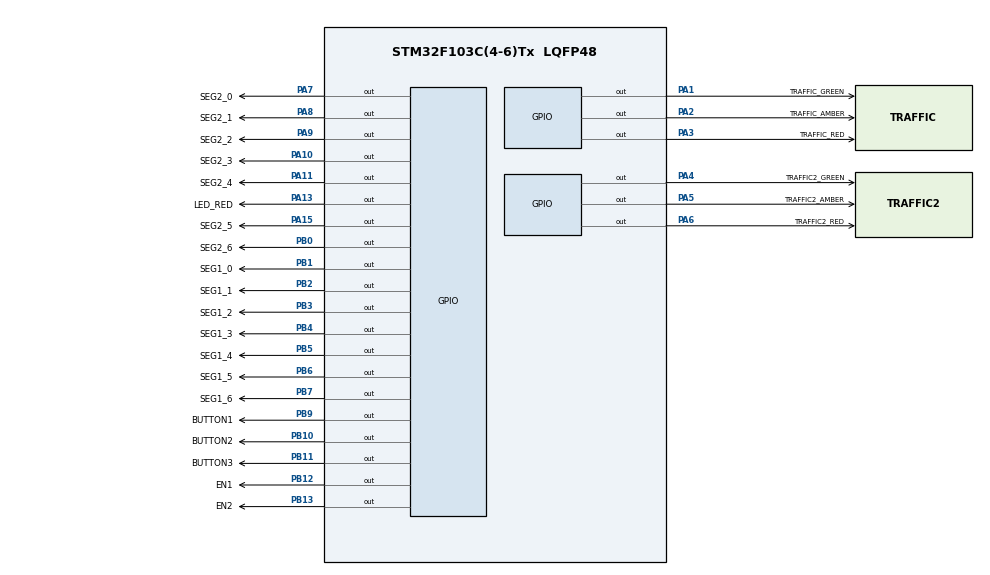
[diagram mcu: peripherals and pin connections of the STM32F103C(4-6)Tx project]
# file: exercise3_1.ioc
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Mcu.Family=STM32F1
Mcu.Name=STM32F103C(4-6)Tx
Mcu.Package=LQFP48
NVIC.PriorityGroup=NVIC_PRIORITYGROUP_4
NVIC.TIM2_IRQn=true\:0\:0\:false\:false\:true\:true\:true\:true
PA1.GPIO_Label=TRAFFIC_GREEN
PA1.Signal=GPIO_Output
PA10.GPIO_Label=SEG2_3
PA10.Signal=GPIO_Output
PA11.GPIO_Label=SEG2_4
PA11.Signal=GPIO_Output
PA13.GPIO_Label=LED_RED
PA13.Signal=GPIO_Output
PA15.GPIO_Label=SEG2_5
PA15.Signal=GPIO_Output
PA2.GPIO_Label=TRAFFIC_AMBER
PA2.Signal=GPIO_Output
PA3.GPIO_Label=TRAFFIC_RED
PA3.Signal=GPIO_Output
PA4.GPIO_Label=TRAFFIC2_GREEN
PA4.Signal=GPIO_Output
PA5.GPIO_Label=TRAFFIC2_AMBER
PA5.Signal=GPIO_Output
PA6.GPIO_Label=TRAFFIC2_RED
PA6.Signal=GPIO_Output
PA7.GPIO_Label=SEG2_0
PA7.Signal=GPIO_Output
PA8.GPIO_Label=SEG2_1
PA8.Signal=GPIO_Output
PA9.GPIO_Label=SEG2_2
PA9.Signal=GPIO_Output
PB0.GPIO_Label=SEG2_6
PB0.Signal=GPIO_Output
PB1.GPIO_Label=SEG1_0
PB1.Signal=GPIO_Output
PB10.GPIO_Label=BUTTON2
PB10.Signal=GPIO_Output
PB11.GPIO_Label=BUTTON3
PB11.GPIO_PuPd=GPIO_PULLUP
PB11.Signal=GPIO_Output
PB12.GPIO_Label=EN1
PB12.GPIO_PuPd=GPIO_PULLUP
PB12.Signal=GPIO_Output
PB13.GPIO_Label=EN2
PB13.GPIO_PuPd=GPIO_PULLUP
PB13.Signal=GPIO_Output
PB2.GPIO_Label=SEG1_1
PB2.Signal=GPIO_Output
PB3.GPIO_Label=SEG1_2
PB3.Signal=GPIO_Output
PB4.GPIO_Label=SEG1_3
PB4.Signal=GPIO_Output
PB5.GPIO_Label=SEG1_4
PB5.Signal=GPIO_Output
PB6.GPIO_Label=SEG1_5
PB6.Signal=GPIO_Output
PB7.GPIO_Label=SEG1_6
PB7.Signal=GPIO_Output
PB9.GPIO_Label=BUTTON1
PB9.Signal=GPIO_Output
ProjectManager.HeapSize=0x200
ProjectManager.StackSize=0x400
ProjectManager.TargetToolchain=STM32CubeIDE
RCC.APB1Freq_Value=8000000
RCC.APB2Freq_Value=8000000
TIM2.Period=9
TIM2.Prescaler=7999
VP_TIM2_VS_ClockSourceINT.Mode=Internal
board=custom

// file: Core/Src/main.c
/* USER CODE BEGIN Header */
/**
 ******************************************************************************
 * @file           : main.c
 * @brief          : Main program body
 ******************************************************************************
 * @attention
 *
 * Copyright (c) 2022 STMicroelectronics.
 * All rights reserved.
 *
 * This software is licensed under terms that can be found in the LICENSE file
 * in the root directory of this software component.
 * If no LICENSE file comes with this software, it is provided AS-IS.
 *
 ******************************************************************************
 */
/* USER CODE END Header */
#include "main.h"

/* USER CODE BEGIN Includes */
#include "software_timer.h"
#include "global.h"
#include "input_processing.h"
#include "input_reading.h"
/* USER CODE END Includes */

TIM_HandleTypeDef htim2;

void SystemClock_Config(void);
static void MX_GPIO_Init(void);
static void MX_TIM2_Init(void);

int main(void) {

	/* MCU Configuration--------------------------------------------------------*/

	/* Reset of all peripherals, Initializes the Flash interface and the Systick. */
	HAL_Init();

	/* Configure the system clock */
	SystemClock_Config();

	/* Initialize all configured peripherals */
	MX_GPIO_Init();
	MX_TIM2_Init();
	/* USER CODE BEGIN 2 */
	HAL_TIM_Base_Start_IT(&htim2);
	/* USER CODE END 2 */

	/* Infinite loop */
	/* USER CODE BEGIN WHILE */
	setTimer1(250);
	setTimer2(101);
	setTimer3(97);

	while (1) {
		if (timer1_flag) {
			fsm_mode_button1();
			fsm_mode_button2();
			fsm_mode_button3();
			if (updateState() == MODE1) {
				setTimer1(250);
				fsm_traffic_led();
			} else {
				setTimer1(100);
				led_blink();
				display7SEG2(status_mode);
				display_set_value();
			}
		}
		/*if(isButtonPressed(2)){
		 HAL_GPIO_TogglePin(LED_RED_GPIO_Port, LED_RED_Pin);
		 }*/
		/* USER CODE END WHILE */
	}
}

void SystemClock_Config(void) {
	RCC_OscInitTypeDef RCC_OscInitStruct = { 0 };
	RCC_ClkInitTypeDef RCC_ClkInitStruct = { 0 };

	/** Initializes the RCC Oscillators according to the specified parameters
	 * in the RCC_OscInitTypeDef structure.
	 */
	RCC_OscInitStruct.OscillatorType = RCC_OSCILLATORTYPE_HSI;
	RCC_OscInitStruct.HSIState = RCC_HSI_ON;
	RCC_OscInitStruct.HSICalibrationValue = RCC_HSICALIBRATION_DEFAULT;
	RCC_OscInitStruct.PLL.PLLState = RCC_PLL_NONE;
	if (HAL_RCC_OscConfig(&RCC_OscInitStruct) != HAL_OK) {
		Error_Handler();
	}

	/** Initializes the CPU, AHB and APB buses clocks
	 */
	RCC_ClkInitStruct.ClockType = RCC_CLOCKTYPE_HCLK | RCC_CLOCKTYPE_SYSCLK
			| RCC_CLOCKTYPE_PCLK1 | RCC_CLOCKTYPE_PCLK2;
	RCC_ClkInitStruct.SYSCLKSource = RCC_SYSCLKSOURCE_HSI;
	RCC_ClkInitStruct.AHBCLKDivider = RCC_SYSCLK_DIV1;
	RCC_ClkInitStruct.APB1CLKDivider = RCC_HCLK_DIV1;
	RCC_ClkInitStruct.APB2CLKDivider = RCC_HCLK_DIV1;

	if (HAL_RCC_ClockConfig(&RCC_ClkInitStruct, FLASH_LATENCY_0) != HAL_OK) {
		Error_Handler();
	}
}

static void MX_TIM2_Init(void) {

	TIM_ClockConfigTypeDef sClockSourceConfig = { 0 };
	TIM_MasterConfigTypeDef sMasterConfig = { 0 };

	htim2.Instance = TIM2;
	htim2.Init.Prescaler = 7999;
	htim2.Init.CounterMode = TIM_COUNTERMODE_UP;
	htim2.Init.Period = 9;
	htim2.Init.ClockDivision = TIM_CLOCKDIVISION_DIV1;
	htim2.Init.AutoReloadPreload = TIM_AUTORELOAD_PRELOAD_DISABLE;
	if (HAL_TIM_Base_Init(&htim2) != HAL_OK) {
		Error_Handler();
	}
	sClockSourceConfig.ClockSource = TIM_CLOCKSOURCE_INTERNAL;
	if (HAL_TIM_ConfigClockSource(&htim2, &sClockSourceConfig) != HAL_OK) {
		Error_Handler();
	}
	sMasterConfig.MasterOutputTrigger = TIM_TRGO_RESET;
	sMasterConfig.MasterSlaveMode = TIM_MASTERSLAVEMODE_DISABLE;
	if (HAL_TIMEx_MasterConfigSynchronization(&htim2, &sMasterConfig)
			!= HAL_OK) {
		Error_Handler();
	}

}

static void MX_GPIO_Init(void) {
	GPIO_InitTypeDef GPIO_InitStruct = { 0 };

	/* GPIO Ports Clock Enable */
	__HAL_RCC_GPIOA_CLK_ENABLE();
	__HAL_RCC_GPIOB_CLK_ENABLE();

	/*Configure GPIO pin Output Level */
	HAL_GPIO_WritePin(GPIOA,
			TRAFFIC_GREEN_Pin | TRAFFIC_AMBER_Pin | TRAFFIC_RED_Pin
					| TRAFFIC2_GREEN_Pin | TRAFFIC2_AMBER_Pin | TRAFFIC2_RED_Pin
					| SEG2_0_Pin | SEG2_1_Pin | SEG2_2_Pin | SEG2_3_Pin
					| SEG2_4_Pin | LED_RED_Pin | SEG2_5_Pin, GPIO_PIN_RESET);

	/*Configure GPIO pin Output Level */
	HAL_GPIO_WritePin(GPIOB,
			SEG2_6_Pin | SEG1_0_Pin | SEG1_1_Pin | BUTTON2_Pin | BUTTON3_Pin
					| EN1_Pin | EN2_Pin | SEG1_2_Pin | SEG1_3_Pin | SEG1_4_Pin
					| SEG1_5_Pin | SEG1_6_Pin | BUTTON1_Pin, GPIO_PIN_RESET);

	/*Configure GPIO pins : TRAFFIC_GREEN_Pin TRAFFIC_AMBER_Pin TRAFFIC_RED_Pin TRAFFIC2_GREEN_Pin
	 TRAFFIC2_AMBER_Pin TRAFFIC2_RED_Pin SEG2_0_Pin SEG2_1_Pin
	 SEG2_2_Pin SEG2_3_Pin SEG2_4_Pin LED_RED_Pin
	 SEG2_5_Pin */
	GPIO_InitStruct.Pin = TRAFFIC_GREEN_Pin | TRAFFIC_AMBER_Pin
			| TRAFFIC_RED_Pin | TRAFFIC2_GREEN_Pin | TRAFFIC2_AMBER_Pin
			| TRAFFIC2_RED_Pin | SEG2_0_Pin | SEG2_1_Pin | SEG2_2_Pin
			| SEG2_3_Pin | SEG2_4_Pin | LED_RED_Pin | SEG2_5_Pin;
	GPIO_InitStruct.Mode = GPIO_MODE_OUTPUT_PP;
	GPIO_InitStruct.Pull = GPIO_NOPULL;
	GPIO_InitStruct.Speed = GPIO_SPEED_FREQ_LOW;
	HAL_GPIO_Init(GPIOA, &GPIO_InitStruct);

	/*Configure GPIO pins : SEG2_6_Pin SEG1_0_Pin SEG1_1_Pin BUTTON2_Pin
	 SEG1_2_Pin SEG1_3_Pin SEG1_4_Pin SEG1_5_Pin
	 SEG1_6_Pin BUTTON1_Pin */
	GPIO_InitStruct.Pin = SEG2_6_Pin | SEG1_0_Pin | SEG1_1_Pin | BUTTON2_Pin
			| SEG1_2_Pin | SEG1_3_Pin | SEG1_4_Pin | SEG1_5_Pin | SEG1_6_Pin
			| BUTTON1_Pin;
	GPIO_InitStruct.Mode = GPIO_MODE_OUTPUT_PP;
	GPIO_InitStruct.Pull = GPIO_NOPULL;
	GPIO_InitStruct.Speed = GPIO_SPEED_FREQ_LOW;
	HAL_GPIO_Init(GPIOB, &GPIO_InitStruct);

	/*Configure GPIO pins : BUTTON3_Pin EN1_Pin EN2_Pin */
	GPIO_InitStruct.Pin = BUTTON3_Pin | EN1_Pin | EN2_Pin;
	GPIO_InitStruct.Mode = GPIO_MODE_OUTPUT_PP;
	GPIO_InitStruct.Pull = GPIO_PULLDOWN;
	GPIO_InitStruct.Speed = GPIO_SPEED_FREQ_LOW;
	HAL_GPIO_Init(GPIOB, &GPIO_InitStruct);

}

/* USER CODE BEGIN 4 */
void HAL_TIM_PeriodElapsedCallback(TIM_HandleTypeDef *htim) {
	timerRun();
	button_reading();
}
/* USER CODE END 4 */

void Error_Handler(void) {
	__disable_irq();
	while (1) {
	}
}
